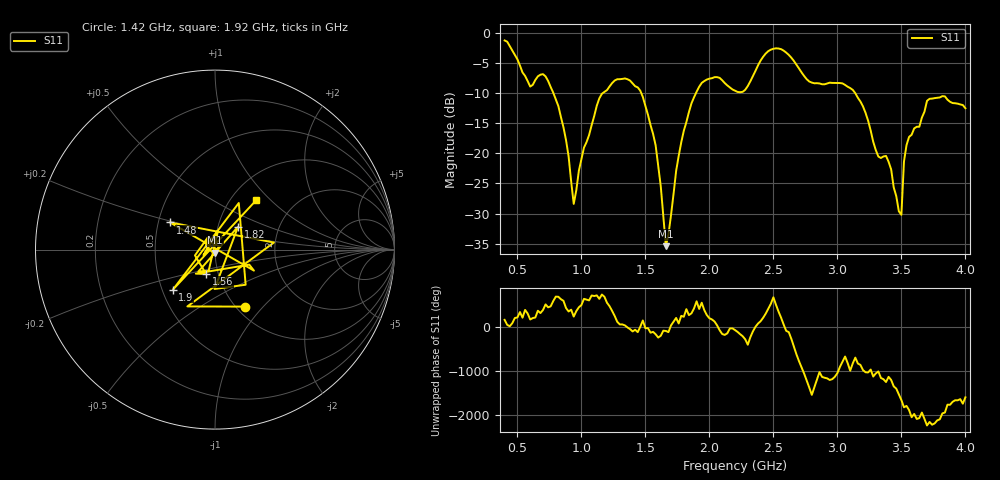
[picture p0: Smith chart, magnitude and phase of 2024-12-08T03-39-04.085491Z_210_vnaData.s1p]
!Created with skrf (http://scikit-rf.org).
# Hz S RI R 50.0
!freq ReS11 ImS11
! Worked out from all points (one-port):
!   181 points, 400 MHz to 4 GHz, reference 50 ohm
!   lowest |S11| = -35.4 dB at 1.66 GHz (marker M1), VSWR 1.03, Z = 50 - j1.7 ohm
!   |S11| at or under -10 dB: 781 MHz to 1.168 GHz (387.4 MHz wide, 39.7 % of centre); 1.467 GHz to 1.895 GHz (428 MHz wide, 25.5 % of centre); 3.139 GHz to end of sweep
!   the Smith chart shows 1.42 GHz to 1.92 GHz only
!   S11 on the Smith chart (normalised r, x): 1.42 GHz: 1.10, -0.80; 1.48 GHz: 0.58, +0.19; 1.56 GHz: 0.87, -0.24; 1.82 GHz: 1.25, +0.33; 1.9 GHz: 0.57, -0.28; 1.92 GHz: 1.30, +0.82
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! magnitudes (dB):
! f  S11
! 400 MHz  -1.3
! 600 MHz  -8.9
! 720 MHz  -7.2
! 860 MHz  -15.7
! 940 MHz  -28.4
! 1.02 GHz  -19.1
! 1.14 GHz  -10.9
! 1.3 GHz  -7.7
! 1.42 GHz  -8.9
! 1.48 GHz  -10.7
! 1.56 GHz  -16.8
! 1.62 GHz  -25.5
! 1.66 GHz  -35.4
! 1.76 GHz  -20.4
! 1.82 GHz  -14.8
! 1.9 GHz  -9.8
! 1.92 GHz  -9.0
! 2.2 GHz  -9.6
! 2.48 GHz  -2.8
! 2.66 GHz  -4.7
! 3.1 GHz  -9.2
! 3.32 GHz  -20.5
! 3.4 GHz  -21.4
! 3.5 GHz  -30.2
! 3.52 GHz  -21.4
! 3.56 GHz  -17.3
! 3.72 GHz  -11.0
! 4 GHz  -12.5
